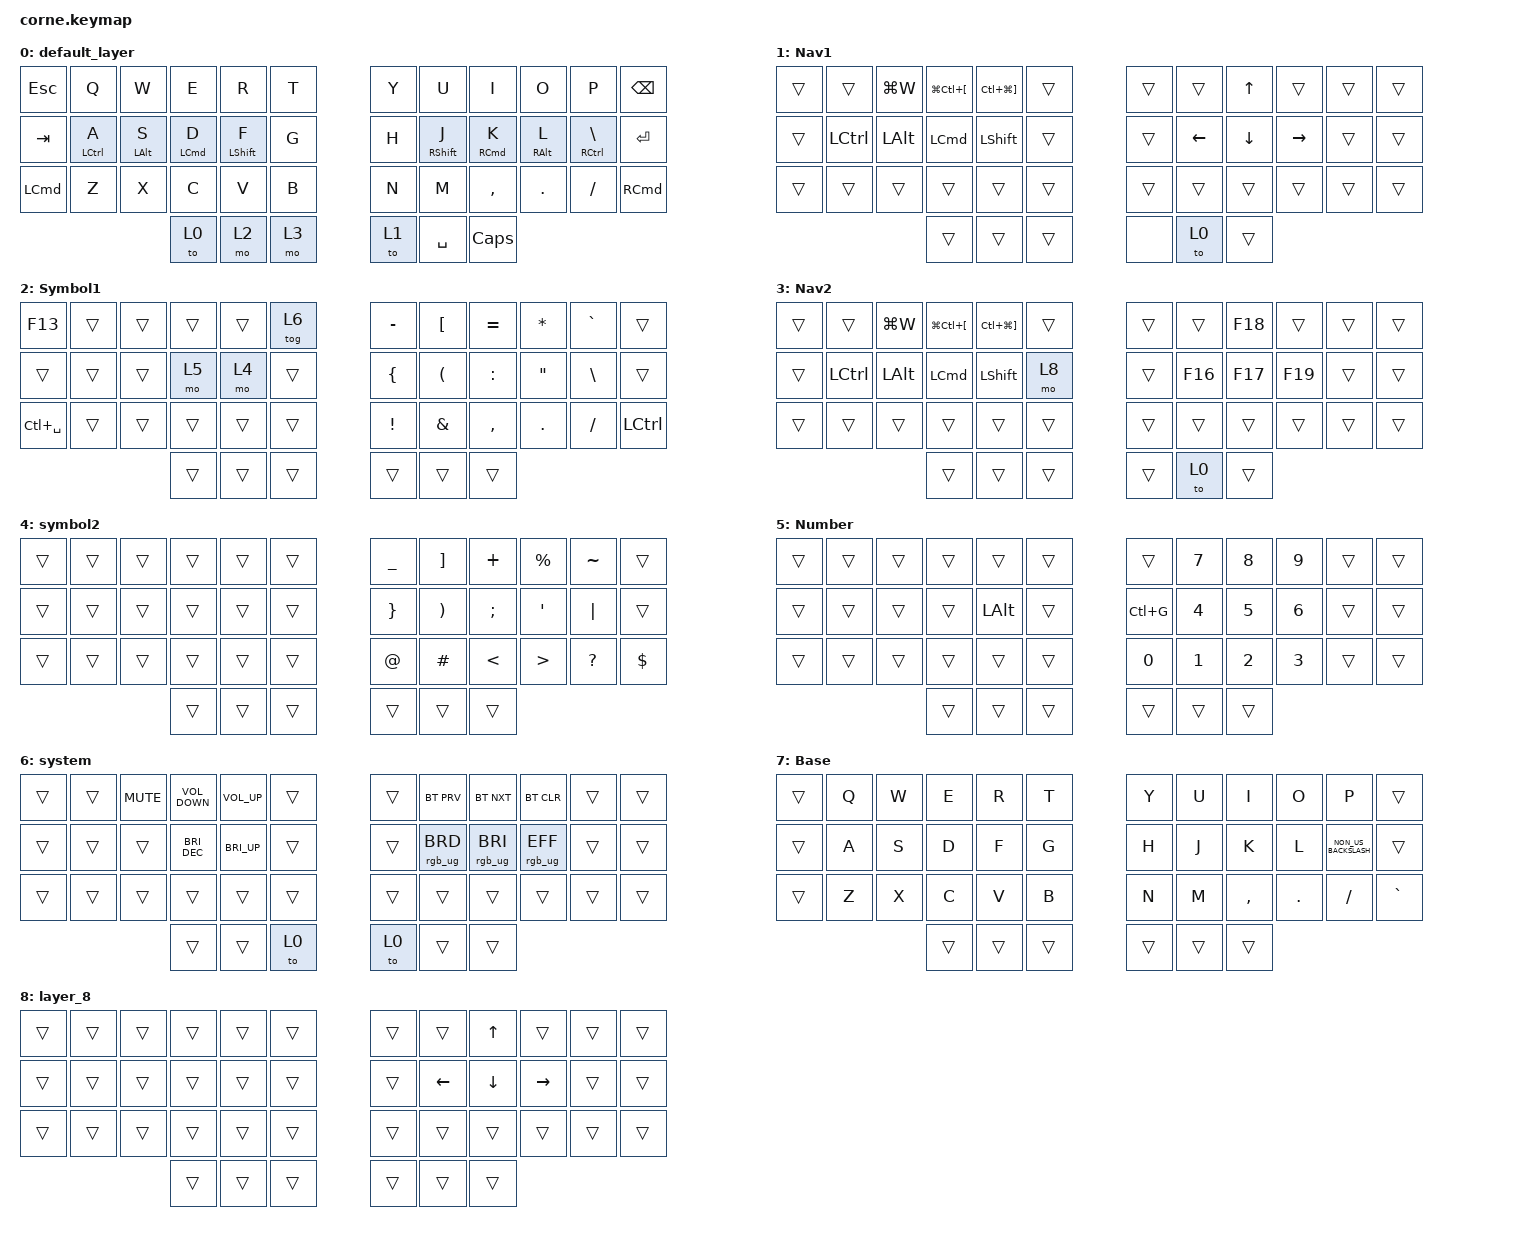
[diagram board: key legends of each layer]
/*
 * Copyright (c) 2020 The ZMK Contributors
 *
 * SPDX-License-Identifier: MIT
 */

#include <behaviors.dtsi>
#include <dt-bindings/zmk/bt.h>
#include <dt-bindings/zmk/keys.h>
#include <dt-bindings/zmk/rgb.h>

&led_strip {
    chain-length = <27>;

    // 21 backlight + 6 glowlight
};

&mt {
    flavor = "tap-preferred";
    quick-tap-ms = <200>;
    require-prior-idle-ms = <150>;
};

/ {
    behaviors {
        mt_sh: shift_on_hold_tap {
            compatible = "zmk,behavior-hold-tap";
            label = "SHIFT_ON_HOLD_TAP";
            #binding-cells = <2>;
            tapping-term-ms = <155>;
            quick-tap-ms = <200>;
            require-prior-idle-ms = <150>;
            flavor = "tap-preferred";
            bindings = <&kp>, <&kp>;
        };
    };

    keymap {
        compatible = "zmk,keymap";

        default_layer {
            // -----------------------------------------------------------------------------------------
            // |  TAB |  Q  |  W  |  E  |  R  |  T  |   |  Y  |  U   |  I  |  O  |  P  | BKSP |
            // | CTRL |  A  |  S  |  D  |  F  |  G  |   |  H  |  J   |  K  |  L  |  ;  |  '   |
            // | SHFT |  Z  |  X  |  C  |  V  |  B  |   |  N  |  M   |  ,  |  .  |  /  | ESC  |
            //                    | GUI | LWR | SPC |   | ENT | RSE  | ALT |

            bindings = <
&kp ESCAPE        &kp Q               &kp W           &kp E               &kp R                &kp T    &kp Y  &kp U                 &kp I                &kp O            &kp P                   &kp BSPC
&kp TAB           &mt LEFT_CONTROL A  &mt LEFT_ALT S  &mt LEFT_COMMAND D  &mt_sh LEFT_SHIFT F  &kp G    &kp H  &mt_sh RIGHT_SHIFT J  &mt RIGHT_COMMAND K  &mt RIGHT_ALT L  &mt RIGHT_CONTROL BSLH  &kp ENTER
&kp LEFT_COMMAND  &kp Z               &kp X           &kp C               &kp V                &kp B    &kp N  &kp M                 &kp COMMA            &kp DOT          &kp FSLH                &kp RIGHT_COMMAND
                                                      &to 0               &mo 2                &mo 3    &to 1  &kp SPACE             &kp CAPS
            >;
        };

        Nav1 {
            bindings = <
&trans  &trans            &kp LG(W)     &kp LG(LC(LEFT_BRACKET))  &kp LC(LG(RIGHT_BRACKET))  &trans    &trans  &trans    &kp UP_ARROW  &trans     &trans  &trans
&trans  &kp LEFT_CONTROL  &kp LEFT_ALT  &kp LEFT_COMMAND          &kp LEFT_SHIFT             &trans    &trans  &kp LEFT  &kp DOWN      &kp RIGHT  &trans  &trans
&trans  &trans            &trans        &trans                    &trans                     &trans    &trans  &trans    &trans        &trans     &trans  &trans
                                        &trans                    &trans                     &trans    &none   &to 0     &trans
            >;
        };

        Symbol1 {
            bindings = <
&kp F13        &trans  &trans  &trans  &trans  &tog 6    &kp MINUS        &kp LEFT_BRACKET      &kp EQUAL  &kp ASTERISK       &kp GRAVE      &trans
&trans         &trans  &trans  &mo 5   &mo 4   &trans    &kp LEFT_BRACE   &kp LEFT_PARENTHESIS  &kp COLON  &kp DOUBLE_QUOTES  &kp BACKSLASH  &trans
&kp LC(SPACE)  &trans  &trans  &trans  &trans  &trans    &kp EXCLAMATION  &kp AMPERSAND         &kp COMMA  &kp PERIOD         &kp SLASH      &kp LCTRL
                               &trans  &trans  &trans    &trans           &trans                &trans
            >;
        };

        Nav2 {
            bindings = <
&trans  &trans            &kp LG(W)     &kp LG(LC(LEFT_BRACKET))  &kp LC(LG(RIGHT_BRACKET))  &trans    &trans  &trans   &kp F18  &trans   &trans  &trans
&trans  &kp LEFT_CONTROL  &kp LEFT_ALT  &kp LEFT_COMMAND          &kp LEFT_SHIFT             &mo 8     &trans  &kp F16  &kp F17  &kp F19  &trans  &trans
&trans  &trans            &trans        &trans                    &trans                     &trans    &trans  &trans   &trans   &trans   &trans  &trans
                                        &trans                    &trans                     &trans    &trans  &to 0    &trans
            >;
        };

        symbol2 {
            bindings = <
&trans  &trans  &trans  &trans  &trans  &trans    &kp UNDERSCORE   &kp RIGHT_BRACKET      &kp PLUS       &kp PERCENT       &kp TILDE     &trans
&trans  &trans  &trans  &trans  &trans  &trans    &kp RIGHT_BRACE  &kp RIGHT_PARENTHESIS  &kp SEMICOLON  &kp SQT           &kp PIPE      &trans
&trans  &trans  &trans  &trans  &trans  &trans    &kp AT_SIGN      &kp HASH               &kp LESS_THAN  &kp GREATER_THAN  &kp QUESTION  &kp DOLLAR
                        &trans  &trans  &trans    &trans           &trans                 &trans
            >;
        };

        Number {
            bindings = <
&trans  &trans  &trans  &trans  &trans        &trans    &trans     &kp N7        &kp N8        &kp N9        &trans  &trans
&trans  &trans  &trans  &trans  &kp LEFT_ALT  &trans    &kp LC(G)  &kp NUMBER_4  &kp N5        &kp NUMBER_6  &trans  &trans
&trans  &trans  &trans  &trans  &trans        &trans    &kp N0     &kp NUMBER_1  &kp NUMBER_2  &kp NUMBER_3  &trans  &trans
                        &trans  &trans        &trans    &trans     &trans        &trans
            >;
        };

        system {
            bindings = <
&trans  &trans  &kp K_MUTE  &kp C_VOLUME_DOWN  &kp C_VOLUME_UP  &trans    &trans  &bt BT_PRV       &bt BT_NXT       &bt BT_CLR       &trans  &trans
&trans  &trans  &trans      &kp C_BRI_DEC      &kp C_BRI_UP     &trans    &trans  &rgb_ug RGB_BRD  &rgb_ug RGB_BRI  &rgb_ug RGB_EFF  &trans  &trans
&trans  &trans  &trans      &trans             &trans           &trans    &trans  &trans           &trans           &trans           &trans  &trans
                            &trans             &trans           &to 0     &to 0   &trans           &trans
            >;
        };

        Base {
            bindings = <
&trans  &kp Q  &kp W  &kp E   &kp R   &kp T     &kp Y   &kp U   &kp I      &kp O       &kp P                 &trans
&trans  &kp A  &kp S  &kp D   &kp F   &kp G     &kp H   &kp J   &kp K      &kp L       &kp NON_US_BACKSLASH  &trans
&trans  &kp Z  &kp X  &kp C   &kp V   &kp B     &kp N   &kp M   &kp COMMA  &kp PERIOD  &kp SLASH             &kp GRAVE
                      &trans  &trans  &trans    &trans  &trans  &trans
            >;
        };

        layer_8 {
            bindings = <
&trans  &trans  &trans  &trans  &trans  &trans    &trans  &trans    &kp UP_ARROW    &trans     &trans  &trans
&trans  &trans  &trans  &trans  &trans  &trans    &trans  &kp LEFT  &kp DOWN_ARROW  &kp RIGHT  &trans  &trans
&trans  &trans  &trans  &trans  &trans  &trans    &trans  &trans    &trans          &trans     &trans  &trans
                        &trans  &trans  &trans    &trans  &trans    &trans
            >;
        };
    };
};
